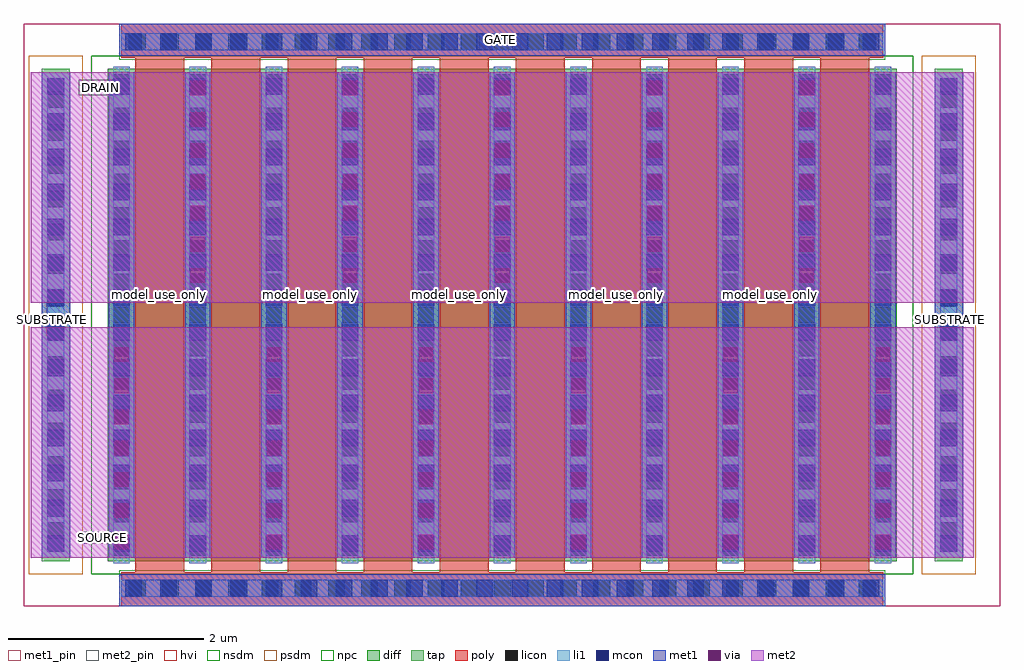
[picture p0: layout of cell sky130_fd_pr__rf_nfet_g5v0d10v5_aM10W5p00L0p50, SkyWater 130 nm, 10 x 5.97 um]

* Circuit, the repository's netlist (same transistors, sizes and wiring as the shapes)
* Copyright 2020 The SkyWater PDK Authors
*
* Licensed under the Apache License, Version 2.0 (the "License");
* you may not use this file except in compliance with the License.
* You may obtain a copy of the License at
*
*     https://www.apache.org/licenses/LICENSE-2.0
*
* Unless required by applicable law or agreed to in writing, software
* distributed under the License is distributed on an "AS IS" BASIS,
* WITHOUT WARRANTIES OR CONDITIONS OF ANY KIND, either express or implied.
* See the License for the specific language governing permissions and
* limitations under the License.
*
* SPDX-License-Identifier: Apache-2.0


.subckt sky130_fd_pr__rf_nfet_g5v0d10v5_aM10W5p00L0p50 DRAIN GATE SOURCE SUBSTRATE
X0 SOURCE GATE DRAIN SUBSTRATE sky130_fd_pr__nfet_g5v0d10v5 w=5.05e+06u l=500000u
X1 DRAIN GATE SOURCE SUBSTRATE sky130_fd_pr__nfet_g5v0d10v5 w=5.05e+06u l=500000u
X2 SOURCE GATE DRAIN SUBSTRATE sky130_fd_pr__nfet_g5v0d10v5 w=5.05e+06u l=500000u
X3 DRAIN GATE SOURCE SUBSTRATE sky130_fd_pr__nfet_g5v0d10v5 w=5.05e+06u l=500000u
X4 DRAIN GATE SOURCE SUBSTRATE sky130_fd_pr__nfet_g5v0d10v5 w=5.05e+06u l=500000u
X5 SOURCE GATE DRAIN SUBSTRATE sky130_fd_pr__nfet_g5v0d10v5 w=5.05e+06u l=500000u
X6 DRAIN GATE SOURCE SUBSTRATE sky130_fd_pr__nfet_g5v0d10v5 w=5.05e+06u l=500000u
X7 SOURCE GATE DRAIN SUBSTRATE sky130_fd_pr__nfet_g5v0d10v5 w=5.05e+06u l=500000u
X8 SOURCE GATE DRAIN SUBSTRATE sky130_fd_pr__nfet_g5v0d10v5 w=5.05e+06u l=500000u
X9 DRAIN GATE SOURCE SUBSTRATE sky130_fd_pr__nfet_g5v0d10v5 w=5.05e+06u l=500000u
.ends

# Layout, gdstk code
import gdstk
lib = gdstk.Library(unit=1e-6, precision=1e-09)
def R(c, l, rs):  # rectangles x0, y0, x1, y1
    for r in rs: c.add(gdstk.rectangle(r[:2], r[2:], *l))
def A(c, l, x, y, w, h, nx, ny, dx, dy):  # array of equal rectangles
    R(c, l, [(x+i*dx, y+j*dy, x+i*dx+w, y+j*dy+h) for i in range(nx) for j in range(ny)])
diff = (65, 20)
tap = (65, 44)
poly = (66, 20)
licon = (66, 44)
li1 = (67, 20)
mcon = (67, 44)
met1_pin = (68, 16)
met1 = (68, 20)
via = (68, 44)
met2_pin = (69, 16)
met2 = (69, 20)
hvi = (75, 20)
nsdm = (93, 44)
psdm = (94, 20)
npc = (95, 20)

sky130_fd_pr__rf_nfet_g5 = lib.new_cell('sky130_fd_pr__rf_nfet_g5v0d10v5_aM10W5p00L0p50')
R(sky130_fd_pr__rf_nfet_g5, diff, [(0.86,0.46,8.94,5.51)])
R(sky130_fd_pr__rf_nfet_g5, tap, [(0.18,0.46,0.47,5.51), (9.33,0.46,9.62,5.51)])
A(sky130_fd_pr__rf_nfet_g5, poly, 1.14, 0.35, 0.5, 5.27, 10, 1, 0.78, 0)
R(sky130_fd_pr__rf_nfet_g5, poly, [(0.995,0,8.805,0.35), (0.995,5.62,8.805,5.97)])
A(sky130_fd_pr__rf_nfet_g5, licon, 1.075, 0.1, 0.17, 0.17, 23, 2, 0.34, 5.6)
A(sky130_fd_pr__rf_nfet_g5, licon, 0.915, 0.52, 0.17, 0.17, 11, 15, 0.78, 0.34)
A(sky130_fd_pr__rf_nfet_g5, licon, 0.24, 0.69, 0.17, 0.17, 1, 14, 0, 0.34)
A(sky130_fd_pr__rf_nfet_g5, licon, 9.39, 0.69, 0.17, 0.17, 1, 14, 0, 0.34)
A(sky130_fd_pr__rf_nfet_g5, li1, 0.915, 0.44, 0.17, 5.09, 11, 1, 0.78, 0)
A(sky130_fd_pr__rf_nfet_g5, li1, 0.915, 1.64, 0.17, 2.69, 11, 1, 0.78, 0)
R(sky130_fd_pr__rf_nfet_g5, li1, [(0.995,0.1,8.805,0.27), (1.035,0.1,8.765,0.27), (0.24,0.56,0.41,0.61), (9.39,0.56,9.56,0.61), (0.24,0.61,0.41,5.36), (9.39,0.61,9.56,5.36), (0.24,1.63,0.41,4.34), (9.39,1.63,9.56,4.34), (0.24,5.36,0.41,5.41), (9.39,5.36,9.56,5.41), (0.995,5.7,8.805,5.87), (1.035,5.7,8.765,5.87)])
A(sky130_fd_pr__rf_nfet_g5, mcon, 1.035, 0.1, 0.17, 0.17, 22, 2, 0.36, 5.6)
A(sky130_fd_pr__rf_nfet_g5, mcon, 0.24, 0.56, 0.17, 0.17, 1, 14, 0, 0.36)
A(sky130_fd_pr__rf_nfet_g5, mcon, 0.915, 0.56, 0.17, 0.17, 11, 14, 0.78, 0.36)
A(sky130_fd_pr__rf_nfet_g5, mcon, 9.39, 0.56, 0.17, 0.17, 1, 14, 0, 0.36)
R(sky130_fd_pr__rf_nfet_g5, met1_pin, [(0.23,2.77,0.36,3.105), (9.425,2.77,9.555,3.105), (4.665,5.74,5.095,5.865)])
A(sky130_fd_pr__rf_nfet_g5, met1, 0.87, 0.5, 0.26, 4.97, 11, 1, 0.78, 0)
A(sky130_fd_pr__rf_nfet_g5, met1, 0.87, 0.5, 0.26, 2.24, 6, 1, 1.56, 0)
A(sky130_fd_pr__rf_nfet_g5, met1, 1.65, 3.23, 0.26, 2.24, 5, 1, 1.56, 0)
R(sky130_fd_pr__rf_nfet_g5, met1, [(0.975,0,8.825,0.33), (0.18,0.5,0.475,5.47), (9.33,0.5,9.625,5.47), (0.975,5.64,8.825,5.97), (4.225,5.655,5.465,5.96)])
A(sky130_fd_pr__rf_nfet_g5, via, 0.925, 0.585, 0.15, 0.15, 6, 7, 1.56, 0.32)
A(sky130_fd_pr__rf_nfet_g5, via, 1.705, 3.315, 0.15, 0.15, 5, 7, 1.56, 0.32)
R(sky130_fd_pr__rf_nfet_g5, met2_pin, [(0.61,0.64,0.99,0.765), (0.56,5.235,1.005,5.395)])
A(sky130_fd_pr__rf_nfet_g5, met2, 0.87, 0.5, 0.26, 2.24, 6, 1, 1.56, 0)
A(sky130_fd_pr__rf_nfet_g5, met2, 1.65, 3.23, 0.26, 2.24, 5, 1, 1.56, 0)
R(sky130_fd_pr__rf_nfet_g5, met2, [(0.07,0.5,9.73,2.86), (0.14,0.55,1.38,0.855), (0.07,3.11,9.73,5.47), (0.14,5.165,1.38,5.47)])
R(sky130_fd_pr__rf_nfet_g5, hvi, [(0,0,10,5.97)])
R(sky130_fd_pr__rf_nfet_g5, nsdm, [(0.69,0.33,9.11,5.64)])
R(sky130_fd_pr__rf_nfet_g5, psdm, [(0.05,0.33,0.6,5.64), (9.2,0.33,9.75,5.64)])
R(sky130_fd_pr__rf_nfet_g5, npc, [(0.975,0,8.825,0.37), (0.975,5.6,8.825,5.97)])
sky130_fd_pr__rf_nfet_g5.add(gdstk.Label('model_use_only', (1.385,3.2), layer=66, texttype=83))
sky130_fd_pr__rf_nfet_g5.add(gdstk.Label('model_use_only', (2.17,3.2), layer=66, texttype=83))
sky130_fd_pr__rf_nfet_g5.add(gdstk.Label('model_use_only', (2.935,3.2), layer=66, texttype=83))
sky130_fd_pr__rf_nfet_g5.add(gdstk.Label('model_use_only', (3.7,3.2), layer=66, texttype=83))
sky130_fd_pr__rf_nfet_g5.add(gdstk.Label('model_use_only', (4.465,3.2), layer=66, texttype=83))
sky130_fd_pr__rf_nfet_g5.add(gdstk.Label('model_use_only', (5.27,3.2), layer=66, texttype=83))
sky130_fd_pr__rf_nfet_g5.add(gdstk.Label('model_use_only', (6.075,3.2), layer=66, texttype=83))
sky130_fd_pr__rf_nfet_g5.add(gdstk.Label('model_use_only', (6.865,3.2), layer=66, texttype=83))
sky130_fd_pr__rf_nfet_g5.add(gdstk.Label('model_use_only', (7.645,3.2), layer=66, texttype=83))
sky130_fd_pr__rf_nfet_g5.add(gdstk.Label('model_use_only', (8.385,3.2), layer=66, texttype=83))
sky130_fd_pr__rf_nfet_g5.add(gdstk.Label('SUBSTRATE', (0.295,2.94), layer=68, texttype=5))
sky130_fd_pr__rf_nfet_g5.add(gdstk.Label('GATE', (4.88,5.805), layer=68, texttype=5))
sky130_fd_pr__rf_nfet_g5.add(gdstk.Label('SUBSTRATE', (9.49,2.94), layer=68, texttype=5))
sky130_fd_pr__rf_nfet_g5.add(gdstk.Label('SOURCE', (0.8,0.705), layer=69, texttype=5))
sky130_fd_pr__rf_nfet_g5.add(gdstk.Label('DRAIN', (0.785,5.315), layer=69, texttype=5))

lib.write_gds('sky130_fd_pr__rf_nfet_g5v0d10v5_aM10W5p00L0p50.gds')
